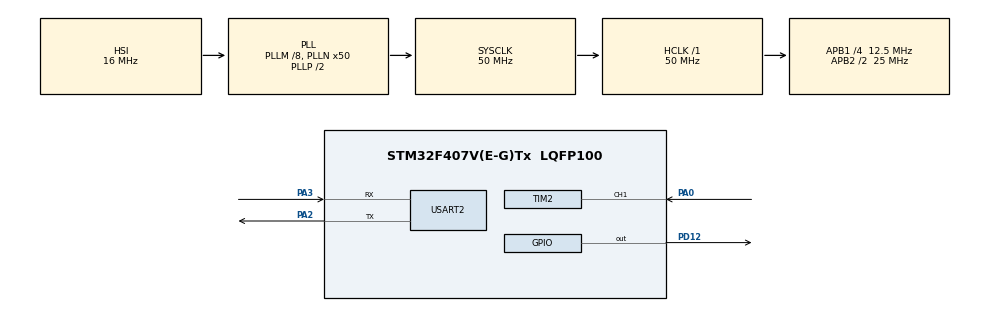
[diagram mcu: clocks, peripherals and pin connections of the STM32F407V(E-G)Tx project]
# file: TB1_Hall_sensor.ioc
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Mcu.Family=STM32F4
Mcu.Name=STM32F407V(E-G)Tx
Mcu.Package=LQFP100
NVIC.PriorityGroup=NVIC_PRIORITYGROUP_0
NVIC.TIM2_IRQn=true\:0\:0\:false\:false\:true\:true\:true\:true
PA0-WKUP.Signal=S_TIM2_CH1_ETR
PA2.Mode=Asynchronous
PA2.Signal=USART2_TX
PA3.Mode=Asynchronous
PA3.Signal=USART2_RX
PD12.Signal=GPIO_Output
ProjectManager.HeapSize=0x200
ProjectManager.StackSize=0x400
ProjectManager.TargetToolchain=STM32CubeIDE
RCC.48MHZClocksFreq_Value=14285714.285714285
RCC.AHBFreq_Value=50000000
RCC.APB1CLKDivider=RCC_HCLK_DIV4
RCC.APB1Freq_Value=12500000
RCC.APB1TimFreq_Value=25000000
RCC.APB2CLKDivider=RCC_HCLK_DIV2
RCC.APB2Freq_Value=25000000
RCC.APB2TimFreq_Value=50000000
RCC.CortexFreq_Value=50000000
RCC.HCLKFreq_Value=50000000
RCC.HSE_VALUE=8000000
RCC.HSI_VALUE=16000000
RCC.LSE_VALUE=32768
RCC.PLLM=8
RCC.PLLN=50
RCC.PLLQ=7
RCC.SYSCLKFreq_VALUE=50000000
RCC.SYSCLKSource=RCC_SYSCLKSOURCE_PLLCLK
RCC.VCOOutputFreq_Value=100000000
SH.S_TIM2_CH1_ETR.0=TIM2_CH1,Input_Capture1_from_TI1
TIM2.Channel-Input_Capture1_from_TI1=TIM_CHANNEL_1
TIM2.Period=65535
TIM2.Prescaler=83
USART2.VirtualMode=VM_ASYNC
VP_TIM2_VS_ClockSourceINT.Mode=Internal
board=STM32F407G-DISC1

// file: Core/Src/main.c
/* USER CODE BEGIN Header */
/**
  ******************************************************************************
  * @file           : main.c
  * @brief          : Main program body
  ******************************************************************************
  * @attention
  *
  * Copyright (c) 2026 STMicroelectronics.
  * All rights reserved.
  *
  * This software is licensed under terms that can be found in the LICENSE file
  * in the root directory of this software component.
  * If no LICENSE file comes with this software, it is provided AS-IS.
  *
  ******************************************************************************
  */
/* USER CODE END Header */
#include "main.h"

/* USER CODE BEGIN Includes */
#include "stdio.h"
#include "math.h"
/* USER CODE END Includes */

/* USER CODE BEGIN PD */
#define MAGNETS        4
#define RADIUS_M       0.025f
#define CIRCUMFERENCE  (2.0f * 3.14159f * RADIUS_M)
#define STOPPED_MS     500     // no pulse for 500ms = stopped
/* USER CODE END PD */

TIM_HandleTypeDef htim2;

UART_HandleTypeDef huart2;

/* USER CODE BEGIN PV */
// ── Capture (set inside interrupt, read in main loop) ──
//volatile uint32_t capture1      = 0;
//volatile uint32_t capture2      = 0;
//volatile uint32_t pulse_period  = 0;
volatile uint8_t  capture_done  = 0;
//volatile uint8_t  capture_index = 0;

float    wheel_rpm  = 0.0f;
float    speed_ms   = 0.0f;
float    speed_kmh  = 0.0f;

uint32_t last_tick  = 0;
uint8_t  is_stopped = 1;
/* USER CODE END PV */

void SystemClock_Config(void);
static void MX_GPIO_Init(void);
static void MX_USART2_UART_Init(void);
static void MX_TIM2_Init(void);

/* USER CODE BEGIN 0 */
int __io_putchar(int ch)
{
    HAL_UART_Transmit(&huart2, (uint8_t*)&ch, 1, HAL_MAX_DELAY);
    return ch;
}

// Full revolution — waits for all 4 magnets then calculates
volatile uint32_t pulse_times[4] = {0};
volatile uint8_t  pulse_count    = 0;
volatile uint32_t rev_period     = 0;

void HAL_TIM_IC_CaptureCallback(TIM_HandleTypeDef *htim)
{
    if (htim->Instance == TIM2)
    {
        pulse_times[pulse_count] = HAL_TIM_ReadCapturedValue(htim, TIM_CHANNEL_1);
        pulse_count++;

        if (pulse_count >= 4)
        {
            uint32_t t_start = pulse_times[0];
            uint32_t t_end   = pulse_times[3];

            if (t_end > t_start)
                rev_period = t_end - t_start;
            else
                rev_period = (1000000 - t_start) + t_end;

            capture_done = 1;
            pulse_count  = 0;
            last_tick    = HAL_GetTick();
        }
    }
}
//int __io_putchar(int ch)
//{
//    HAL_UART_Transmit(&huart2, (uint8_t*)&ch, 1, HAL_MAX_DELAY);
//    return ch;
//}
//
//// Fires every time a magnet passes the sensor
//void HAL_TIM_IC_CaptureCallback(TIM_HandleTypeDef *htim)
//{
//    if (htim->Instance == TIM2)
//    {
//        if (capture_index == 0)
//        {
//            // First pulse — save timestamp
//            capture1      = HAL_TIM_ReadCapturedValue(htim, TIM_CHANNEL_1);
//            capture_index = 1;
//        }
//        else
//        {
//            // Second pulse — calculate period
//            capture2 = HAL_TIM_ReadCapturedValue(htim, TIM_CHANNEL_1);
//
//            if (capture2 > capture1)
//                pulse_period = capture2 - capture1;
//            else
//                pulse_period = (65535 - capture1) + capture2;
//
//            capture_done  = 1;
//            capture_index = 0;
//            last_tick     = HAL_GetTick();
//        }
//    }
//}
/* USER CODE END 0 */

int main(void)
{

  /* MCU Configuration--------------------------------------------------------*/

  /* Reset of all peripherals, Initializes the Flash interface and the Systick. */
  HAL_Init();

  /* Configure the system clock */
  SystemClock_Config();

  /* Initialize all configured peripherals */
  MX_GPIO_Init();
  MX_USART2_UART_Init();
  MX_TIM2_Init();
  /* USER CODE BEGIN 2 */
  HAL_TIM_IC_Start_IT(&htim2, TIM_CHANNEL_1);

  printf("\r\n=============================\r\n");
  printf("  ABS WHEEL SPEED MONITOR\r\n");
  printf("  Magnets : 4\r\n");
  printf("  Radius  : 2.5 cm\r\n");
  printf("  Circ    : %.4f m\r\n", CIRCUMFERENCE);
  printf("=============================\r\n");
  printf("  Spin the wheel...\r\n\r\n");

  /* USER CODE END 2 */

  /* Infinite loop */
  while (1)
  {

    /* USER CODE BEGIN 3 */
	  if (last_tick != 0 &&
	     (HAL_GetTick() - last_tick) > STOPPED_MS)
	  {
	      if (is_stopped == 0)
	      {
	          is_stopped = 1;
	          wheel_rpm  = 0;
	          speed_kmh  = 0;
	          printf("-----------------------------\r\n");
	          printf("  WHEEL STOPPED\r\n");
	          printf("  RPM   : 0\r\n");
	          printf("  Speed : 0.00 km/h\r\n");
	          printf("-----------------------------\r\n\r\n");
	      }
	  }

	  // New reading available
	  if (capture_done == 1)
	  {
	      capture_done = 0;

	      // rev_period = time for full revolution in us
	      // valid range: 10 RPM to 8000 RPM
	      if (rev_period >= 7500 && rev_period <= 100000)
	      {
	          wheel_rpm = 60000000.0f / (float)rev_period;
	          speed_ms  = (wheel_rpm / 60.0f) * CIRCUMFERENCE;
	          speed_kmh = speed_ms * 3.6f;
	          is_stopped = 0;

	          printf("  Rev Period : %lu us\r\n",   rev_period);
	          printf("  RPM        : %.1f\r\n",     wheel_rpm);
	          printf("  Speed      : %.2f km/h\r\n",speed_kmh);
	          printf("-----------------------------\r\n");
	      }
	  }

	  HAL_Delay(10);

//	  if (last_tick != 0 &&
//	     (HAL_GetTick() - last_tick) > STOPPED_MS)
//	  {
//	      if (is_stopped == 0)
//	      {
//	          is_stopped = 1;
//	          wheel_rpm  = 0;
//	          speed_ms   = 0;
//	          speed_kmh  = 0;
//
//	          printf("-----------------------------\r\n");
//	          printf("  WHEEL STOPPED\r\n");
//	          printf("  RPM   : 0\r\n");
//	          printf("  Speed : 0.00 km/h\r\n");
//	          printf("-----------------------------\r\n\r\n");
//	      }
//	  }
//
//	  // ── New data from interrupt ──────────────
//	  if (capture_done == 1)
//	  {
//	      capture_done = 0;
//
//	      // Valid range:
//	      // Max RPM 8000 → period = 60M/(8000×4) = 1875 us
//	      // Min RPM 10   → period = 60M/(10×4)   = 1,500,000 us
//	      if (pulse_period >= 1875 && pulse_period <= 1500000)
//	      {
//	          wheel_rpm  = 60000000.0f / ((float)pulse_period * (float)MAGNETS);
//	          speed_ms   = (wheel_rpm / 60.0f) * CIRCUMFERENCE;
//	          speed_kmh  = speed_ms * 3.6f;
//	          is_stopped = 0;
//
//	          printf("  Period : %lu us\r\n",   pulse_period);
//	          printf("  RPM    : %.1f\r\n",     wheel_rpm);
//	          printf("  Speed  : %.3f m/s\r\n", speed_ms);
//	          printf("  Speed  : %.2f km/h\r\n",speed_kmh);
//	          printf("-----------------------------\r\n");
//	      }
//	  }
//
//	  HAL_Delay(10);

  }
  /* USER CODE END 3 */
}

void SystemClock_Config(void)
{
  RCC_OscInitTypeDef RCC_OscInitStruct = {0};
  RCC_ClkInitTypeDef RCC_ClkInitStruct = {0};

  /** Configure the main internal regulator output voltage
  */
  __HAL_RCC_PWR_CLK_ENABLE();
  __HAL_PWR_VOLTAGESCALING_CONFIG(PWR_REGULATOR_VOLTAGE_SCALE1);

  /** Initializes the RCC Oscillators according to the specified parameters
  * in the RCC_OscInitTypeDef structure.
  */
  RCC_OscInitStruct.OscillatorType = RCC_OSCILLATORTYPE_HSI;
  RCC_OscInitStruct.HSIState = RCC_HSI_ON;
  RCC_OscInitStruct.HSICalibrationValue = RCC_HSICALIBRATION_DEFAULT;
  RCC_OscInitStruct.PLL.PLLState = RCC_PLL_ON;
  RCC_OscInitStruct.PLL.PLLSource = RCC_PLLSOURCE_HSI;
  RCC_OscInitStruct.PLL.PLLM = 8;
  RCC_OscInitStruct.PLL.PLLN = 50;
  RCC_OscInitStruct.PLL.PLLP = RCC_PLLP_DIV2;
  RCC_OscInitStruct.PLL.PLLQ = 7;
  if (HAL_RCC_OscConfig(&RCC_OscInitStruct) != HAL_OK)
  {
    Error_Handler();
  }

  /** Initializes the CPU, AHB and APB buses clocks
  */
  RCC_ClkInitStruct.ClockType = RCC_CLOCKTYPE_HCLK|RCC_CLOCKTYPE_SYSCLK
                              |RCC_CLOCKTYPE_PCLK1|RCC_CLOCKTYPE_PCLK2;
  RCC_ClkInitStruct.SYSCLKSource = RCC_SYSCLKSOURCE_PLLCLK;
  RCC_ClkInitStruct.AHBCLKDivider = RCC_SYSCLK_DIV1;
  RCC_ClkInitStruct.APB1CLKDivider = RCC_HCLK_DIV4;
  RCC_ClkInitStruct.APB2CLKDivider = RCC_HCLK_DIV2;

  if (HAL_RCC_ClockConfig(&RCC_ClkInitStruct, FLASH_LATENCY_1) != HAL_OK)
  {
    Error_Handler();
  }
}

static void MX_TIM2_Init(void)
{

  TIM_ClockConfigTypeDef sClockSourceConfig = {0};
  TIM_MasterConfigTypeDef sMasterConfig = {0};
  TIM_IC_InitTypeDef sConfigIC = {0};

  htim2.Instance = TIM2;
  htim2.Init.Prescaler = 49;
  htim2.Init.CounterMode = TIM_COUNTERMODE_UP;
  htim2.Init.Period = 65535;
  htim2.Init.ClockDivision = TIM_CLOCKDIVISION_DIV1;
  htim2.Init.AutoReloadPreload = TIM_AUTORELOAD_PRELOAD_DISABLE;
  if (HAL_TIM_Base_Init(&htim2) != HAL_OK)
  {
    Error_Handler();
  }
  sClockSourceConfig.ClockSource = TIM_CLOCKSOURCE_INTERNAL;
  if (HAL_TIM_ConfigClockSource(&htim2, &sClockSourceConfig) != HAL_OK)
  {
    Error_Handler();
  }
  if (HAL_TIM_IC_Init(&htim2) != HAL_OK)
  {
    Error_Handler();
  }
  sMasterConfig.MasterOutputTrigger = TIM_TRGO_RESET;
  sMasterConfig.MasterSlaveMode = TIM_MASTERSLAVEMODE_DISABLE;
  if (HAL_TIMEx_MasterConfigSynchronization(&htim2, &sMasterConfig) != HAL_OK)
  {
    Error_Handler();
  }
  sConfigIC.ICPolarity = TIM_INPUTCHANNELPOLARITY_FALLING;
  sConfigIC.ICSelection = TIM_ICSELECTION_DIRECTTI;
  sConfigIC.ICPrescaler = TIM_ICPSC_DIV1;
  sConfigIC.ICFilter = 8;
  if (HAL_TIM_IC_ConfigChannel(&htim2, &sConfigIC, TIM_CHANNEL_1) != HAL_OK)
  {
    Error_Handler();
  }

}

static void MX_USART2_UART_Init(void)
{

  huart2.Instance = USART2;
  huart2.Init.BaudRate = 115200;
  huart2.Init.WordLength = UART_WORDLENGTH_8B;
  huart2.Init.StopBits = UART_STOPBITS_1;
  huart2.Init.Parity = UART_PARITY_NONE;
  huart2.Init.Mode = UART_MODE_TX_RX;
  huart2.Init.HwFlowCtl = UART_HWCONTROL_NONE;
  huart2.Init.OverSampling = UART_OVERSAMPLING_16;
  if (HAL_UART_Init(&huart2) != HAL_OK)
  {
    Error_Handler();
  }

}

static void MX_GPIO_Init(void)
{
  GPIO_InitTypeDef GPIO_InitStruct = {0};

  /* GPIO Ports Clock Enable */
  __HAL_RCC_GPIOA_CLK_ENABLE();
  __HAL_RCC_GPIOD_CLK_ENABLE();

  /*Configure GPIO pin Output Level */
  HAL_GPIO_WritePin(GPIOD, GPIO_PIN_12, GPIO_PIN_RESET);

  /*Configure GPIO pin : PD12 */
  GPIO_InitStruct.Pin = GPIO_PIN_12;
  GPIO_InitStruct.Mode = GPIO_MODE_OUTPUT_PP;
  GPIO_InitStruct.Pull = GPIO_NOPULL;
  GPIO_InitStruct.Speed = GPIO_SPEED_FREQ_LOW;
  HAL_GPIO_Init(GPIOD, &GPIO_InitStruct);

}

void Error_Handler(void)
{
  __disable_irq();
  while (1)
  {
  }
}
